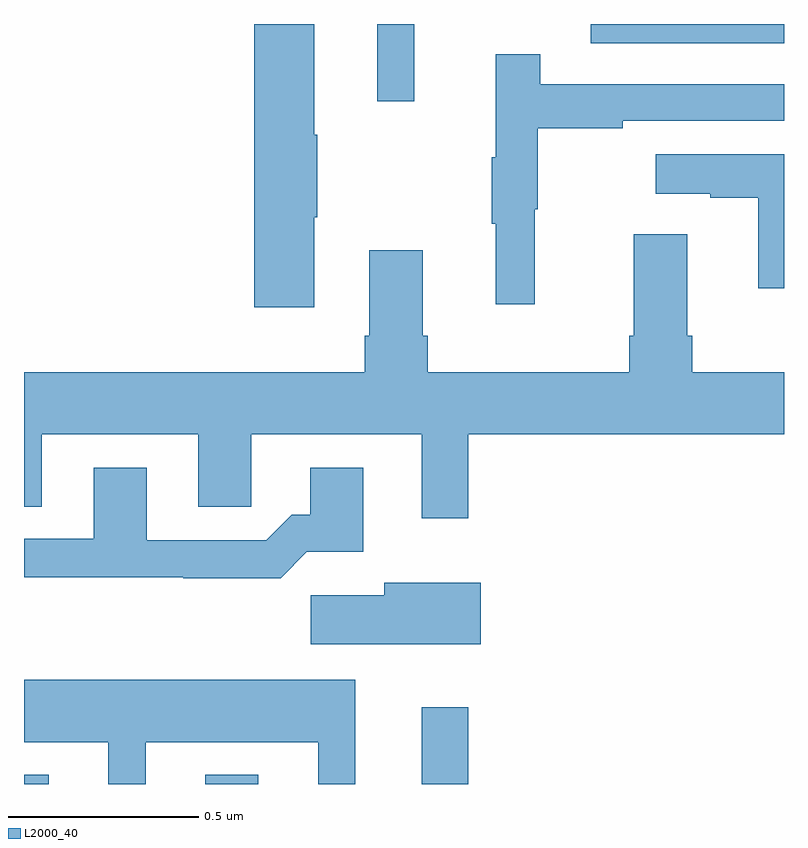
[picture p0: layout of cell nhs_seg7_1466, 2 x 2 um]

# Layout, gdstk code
import gdstk
lib = gdstk.Library(unit=1e-6, precision=1e-09)
def R(c, l, rs):  # rectangles x0, y0, x1, y1
    for r in rs: c.add(gdstk.rectangle(r[:2], r[2:], *l))
def P(c, l, *ps):  # polygons
    for p in ps: c.add(gdstk.Polygon(p, *l))
L2000_40 = (2000, 40)

nhs_seg7_1466 = lib.new_cell('nhs_seg7_1466')
R(nhs_seg7_1466, L2000_40, [(131,1029,131.065,1029.025), (131.477,1029,131.617,1029.025), (132.047,1029,132.169,1029.202), (131.93,1030.797,132.027,1031), (132.492,1030.95,133,1031)])
P(nhs_seg7_1466, L2000_40, [(131.764,1030.492),(131.772,1030.492),(131.772,1030.709),(131.764,1030.709),(131.764,1031),(131.606,1031),(131.606,1030.254),(131.764,1030.254)],
  [(132.344,1030.512),(132.352,1030.512),(132.352,1030.726),(132.575,1030.726),(132.575,1030.746),(133,1030.746),(133,1030.842),(132.359,1030.842),(132.359,1030.921),(132.242,1030.921),(132.242,1030.649),(132.231,1030.649),(132.231,1030.475),(132.242,1030.475),(132.242,1030.263),(132.344,1030.263)],
  [(133,1030.657),(132.663,1030.657),(132.663,1030.553),(132.806,1030.553),(132.806,1030.543),(132.932,1030.543),(132.932,1030.305),(133,1030.305)],
  [(132.169,1029.92),(133,1029.92),(133,1030.084),(132.758,1030.084),(132.758,1030.18),(132.745,1030.18),(132.745,1030.447),(132.605,1030.447),(132.605,1030.18),(132.593,1030.18),(132.593,1030.084),(132.062,1030.084),(132.062,1030.18),(132.049,1030.18),(132.049,1030.405),(131.909,1030.405),(131.909,1030.18),(131.897,1030.18),(131.897,1030.084),(131,1030.084),(131,1029.73),(131.047,1029.73),(131.047,1029.92),(131.459,1029.92),(131.459,1029.73),(131.598,1029.73),(131.598,1029.92),(132.047,1029.92),(132.047,1029.699),(132.169,1029.699)],
  [(131.744,1029.611),(131.893,1029.611),(131.893,1029.832),(131.753,1029.832),(131.753,1029.709),(131.704,1029.709),(131.637,1029.642),(131.323,1029.642),(131.323,1029.832),(131.183,1029.832),(131.183,1029.645),(131,1029.645),(131,1029.544),(131.419,1029.544),(131.419,1029.542),(131.675,1029.542)],
  [(132.202,1029.529),(131.948,1029.529),(131.948,1029.497),(131.754,1029.497),(131.754,1029.368),(132.202,1029.368)],
  [(131.32,1029.11),(131.774,1029.11),(131.774,1029),(131.872,1029),(131.872,1029.274),(131,1029.274),(131,1029.11),(131.222,1029.11),(131.222,1029),(131.32,1029)])

lib.write_gds('nhs_seg7_1466.gds')
